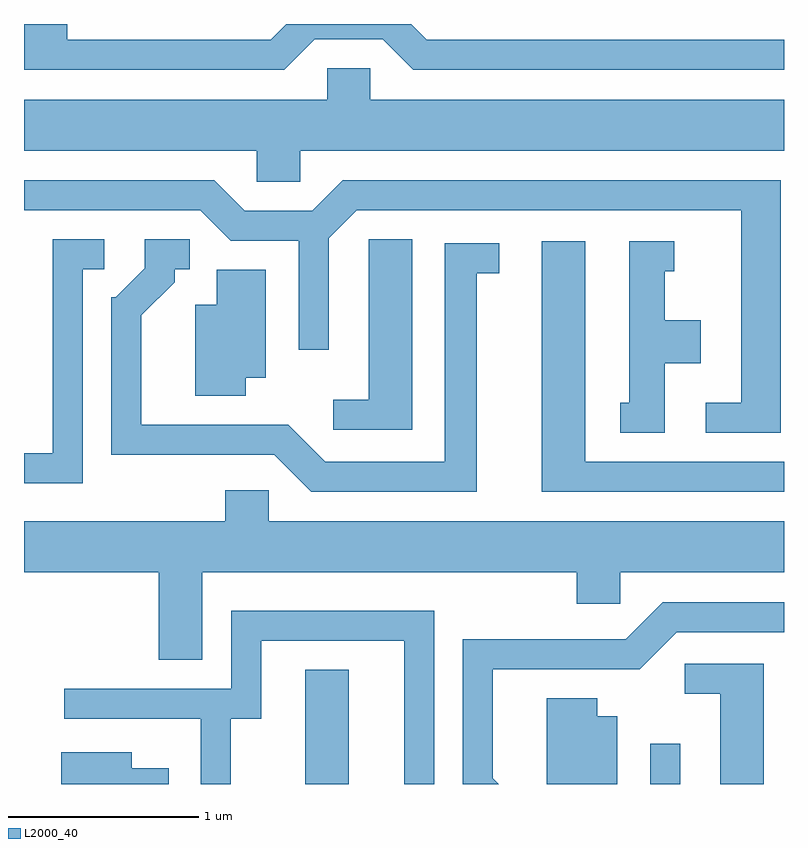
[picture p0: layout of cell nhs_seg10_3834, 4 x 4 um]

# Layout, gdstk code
import gdstk
lib = gdstk.Library(unit=1e-6, precision=1e-09)
def R(c, l, rs):  # rectangles x0, y0, x1, y1
    for r in rs: c.add(gdstk.rectangle(r[:2], r[2:], *l))
def P(c, l, *ps):  # polygons
    for p in ps: c.add(gdstk.Polygon(p, *l))
L2000_40 = (2000, 40)

nhs_seg10_3834 = lib.new_cell('nhs_seg10_3834')
R(nhs_seg10_3834, L2000_40, [(299.091,2170.522,299.319,2171.124), (300.906,2170.522,301.064,2170.733)])
P(nhs_seg10_3834, L2000_40, [(299.142,2174.441),(299.499,2174.441),(299.659,2174.281),(301.611,2174.281),(301.611,2174.439),(299.732,2174.439),(299.649,2174.522),(298.992,2174.522),(298.909,2174.439),(297.839,2174.439),(297.839,2174.522),(297.611,2174.522),(297.611,2174.281),(298.982,2174.281)],
  [(299.064,2173.856),(301.611,2173.856),(301.611,2174.124),(299.434,2174.124),(299.434,2174.289),(299.206,2174.289),(299.206,2174.124),(297.611,2174.124),(297.611,2173.856),(298.836,2173.856),(298.836,2173.691),(299.064,2173.691)],
  [(301.594,2173.699),(299.289,2173.699),(299.129,2173.539),(298.772,2173.539),(298.612,2173.699),(297.611,2173.699),(297.611,2173.541),(298.539,2173.541),(298.699,2173.381),(299.056,2173.381),(299.056,2172.808),(299.214,2172.808),(299.214,2173.394),(299.362,2173.541),(301.386,2173.541),(301.386,2172.529),(301.198,2172.529),(301.198,2172.371),(301.594,2172.371)],
  [(299.994,2173.211),(300.113,2173.211),(300.113,2173.369),(299.826,2173.369),(299.826,2172.219),(299.197,2172.219),(299.002,2172.414),(298.229,2172.414),(298.229,2172.989),(298.404,2173.164),(298.404,2173.231),(298.483,2173.231),(298.483,2173.389),(298.246,2173.389),(298.246,2173.237),(298.094,2173.084),(298.071,2173.084),(298.071,2172.256),(298.929,2172.256),(299.124,2172.061),(299.994,2172.061)],
  [(297.919,2173.231),(298.033,2173.231),(298.033,2173.389),(297.761,2173.389),(297.761,2172.264),(297.611,2172.264),(297.611,2172.106),(297.919,2172.106)],
  [(299.654,2173.389),(299.426,2173.389),(299.426,2172.544),(299.238,2172.544),(299.238,2172.386),(299.654,2172.386)],
  [(301.611,2172.219),(300.564,2172.219),(300.564,2173.379),(300.336,2173.379),(300.336,2172.061),(301.611,2172.061)],
  [(300.984,2172.736),(301.174,2172.736),(301.174,2172.964),(300.984,2172.964),(300.984,2173.221),(301.033,2173.221),(301.033,2173.379),(300.796,2173.379),(300.796,2172.529),(300.748,2172.529),(300.748,2172.371),(300.984,2172.371)],
  [(298.779,2172.661),(298.884,2172.661),(298.884,2173.229),(298.626,2173.229),(298.626,2173.044),(298.511,2173.044),(298.511,2172.566),(298.779,2172.566)],
  [(298.549,2171.636),(300.521,2171.636),(300.521,2171.471),(300.749,2171.471),(300.749,2171.636),(301.611,2171.636),(301.611,2171.904),(298.899,2171.904),(298.899,2172.069),(298.671,2172.069),(298.671,2171.904),(297.611,2171.904),(297.611,2171.636),(298.321,2171.636),(298.321,2171.176),(298.549,2171.176)],
  [(300.079,2170.552),(300.079,2171.126),(300.852,2171.126),(301.047,2171.321),(301.611,2171.321),(301.611,2171.479),(300.974,2171.479),(300.779,2171.284),(299.921,2171.284),(299.921,2170.522),(300.109,2170.522)],
  [(298.699,2170.866),(298.859,2170.866),(298.859,2171.276),(299.611,2171.276),(299.611,2170.522),(299.769,2170.522),(299.769,2171.434),(298.701,2171.434),(298.701,2171.024),(297.823,2171.024),(297.823,2170.866),(298.541,2170.866),(298.541,2170.522),(298.699,2170.522)],
  [(301.504,2171.154),(301.088,2171.154),(301.088,2170.996),(301.276,2170.996),(301.276,2170.522),(301.504,2170.522)],
  [(300.734,2170.879),(300.629,2170.879),(300.629,2170.974),(300.361,2170.974),(300.361,2170.522),(300.734,2170.522)],
  [(298.374,2170.604),(298.179,2170.604),(298.179,2170.689),(297.806,2170.689),(297.806,2170.522),(298.374,2170.522)])

lib.write_gds('nhs_seg10_3834.gds')
